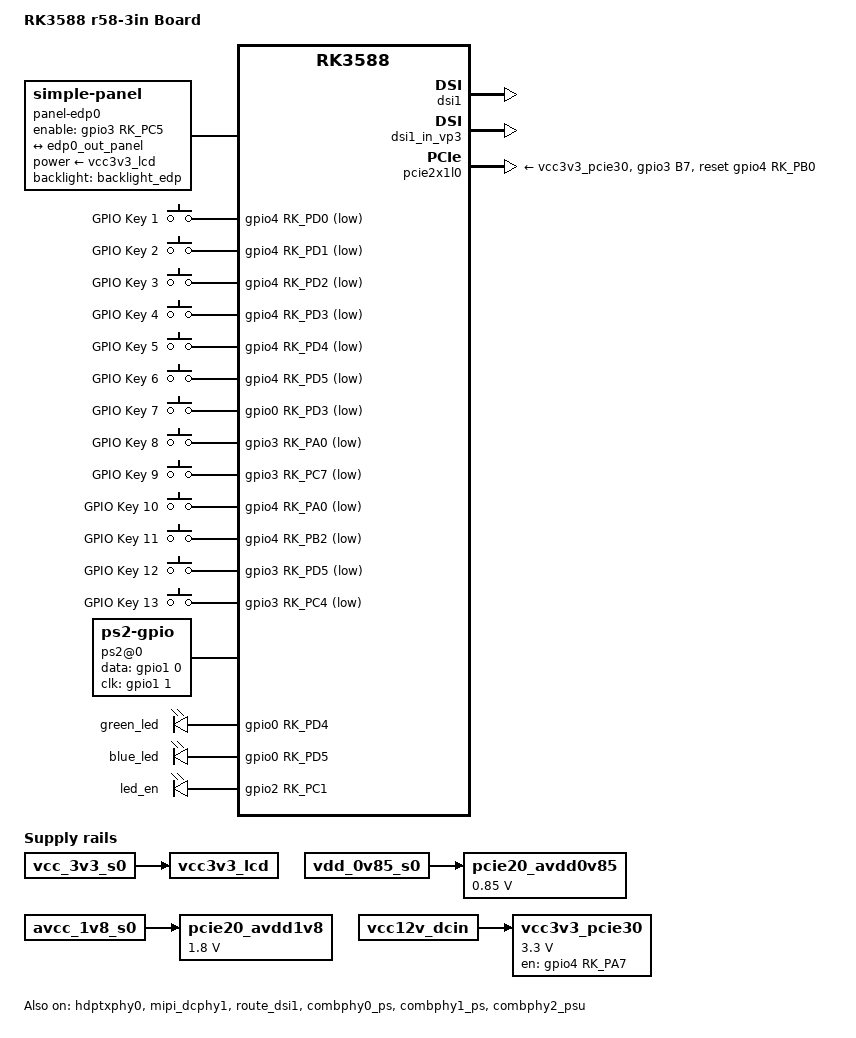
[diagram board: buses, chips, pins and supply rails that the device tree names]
// SPDX-License-Identifier: (GPL-2.0+ OR MIT)
/*
 * Copyright (c) 2021 Rockchip Electronics Co., Ltd.
 *
 */

/dts-v1/;

#include "rk3588-hugsun-r58-3in.dtsi"
#include "rk3588-linux.dtsi"

/ {
	model = "RK3588 r58-3in Board";
	compatible = "rockchip,rk3588-r58-3in-linux", "rockchip,rk3588";

	vcc3v3_lcd: vcc3v3-lcd {
		compatible = "regulator-fixed";
		regulator-name = "vcc3v3_lcd";
		vin-supply = <&vcc_3v3_s0>;
	};

	pcie20_avdd0v85: pcie30-avdd0v75 {
		compatible = "regulator-fixed";
		regulator-name = "pcie20_avdd0v85";
		regulator-boot-on;
		regulator-always-on;
		regulator-min-microvolt = <850000>;
		regulator-max-microvolt = <850000>;
		vin-supply = <&vdd_0v85_s0>;
	};

	pcie20_avdd1v8: pcie30-avdd1v8 {
		compatible = "regulator-fixed";
		regulator-name = "pcie20_avdd1v8";
		regulator-boot-on;
		regulator-always-on;
		regulator-min-microvolt = <1800000>;
		regulator-max-microvolt = <1800000>;
		vin-supply = <&avcc_1v8_s0>;
	};

      vcc3v3_pcie30: vcc3v3-pcie30 {
		compatible = "regulator-fixed";
		regulator-name = "vcc3v3_pcie30";
		regulator-min-microvolt = <3300000>;
		regulator-max-microvolt = <3300000>;
		enable-active-high;
		gpios = <&gpio4 RK_PA7 GPIO_ACTIVE_HIGH>;
		startup-delay-us = <5000>;
		vin-supply = <&vcc12v_dcin>;
        };

	panel-edp0 {
		compatible = "simple-panel";
		backlight = <&backlight_edp>;
		power-supply = <&vcc3v3_lcd>;
		enable-gpios = <&gpio3 RK_PC5 GPIO_ACTIVE_HIGH>;
		pinctrl-names = "default";
		pinctrl-0 = <&edp0_rst_gpio>;
		prepare-delay-ms = <120>;
		enable-delay-ms = <1000>;
		init-delay-ms = <50>;
		reset-delay-ms = <20>;
		unprepare-delay-ms = <120>;
		disable-delay-ms = <120>;

		panel-timing {
			clock-frequency = <594000000>;
            hactive = <3840>;
            vactive = <2160>;
            hback-porch = <296>;
            hfront-porch = <176>;
            vback-porch = <72>;
            vfront-porch = <8>;
            hsync-len = <88>;
            vsync-len = <10>;
            hsync-active = <0>;
            vsync-active = <0>;
            de-active = <0>;
            pixelclk-active = <0>;
		};

		port {
			panel_in_edp0: endpoint {
				remote-endpoint = <&edp0_out_panel>;
			};
		};
	};

	gpio_keys: gpio-keys {
		compatible = "gpio-keys";
		pinctrl-names = "default";
		pinctrl-0 = <&gpiokey>;

		gpio_key1 {
			debounce-interval = <10>;
			gpios = <&gpio4 RK_PD0 GPIO_ACTIVE_LOW>;
			label = "GPIO Key 1";
			linux,code = <BTN_Z>;
			wakeup-source;
		};
		gpio_key2 {
			debounce-interval = <10>;
			gpios = <&gpio4 RK_PD1 GPIO_ACTIVE_LOW>;
			label = "GPIO Key 2";
			linux,code = <BTN_TR>;
			wakeup-source;
		};
		gpio_key3 {
			debounce-interval = <10>;
			gpios = <&gpio4 RK_PD2 GPIO_ACTIVE_LOW>;
			label = "GPIO Key 3";
			linux,code = <BTN_TR2>;
			wakeup-source;
		};
		gpio_key4 {
			debounce-interval = <10>;
			gpios = <&gpio4 RK_PD3 GPIO_ACTIVE_LOW>;
			label = "GPIO Key 4";
			linux,code = <BTN_MODE>;
			wakeup-source;
		};
		gpio_key5 {
			debounce-interval = <10>;
			gpios = <&gpio4 RK_PD4 GPIO_ACTIVE_LOW>;
			label = "GPIO Key 5";
			linux,code = <BTN_SOUTH>;
			wakeup-source;
		};
		gpio_key6 {
			debounce-interval = <10>;
			gpios = <&gpio4 RK_PD5 GPIO_ACTIVE_LOW>;
			label = "GPIO Key 6";
			linux,code = <BTN_TL>;
			wakeup-source;
		};
		gpio_key7 {
			debounce-interval = <10>;
			gpios = <&gpio0 RK_PD3 GPIO_ACTIVE_LOW>;
			label = "GPIO Key 7";
			linux,code = <ABS_HAT0X>;
			wakeup-source;
		};
		gpio_key8 {
			debounce-interval = <10>;
			gpios = <&gpio3 RK_PA0 GPIO_ACTIVE_LOW>;
			label = "GPIO Key 8";
			linux,code = <ABS_HAT0Y>;
			wakeup-source;
		};
		gpio_key9 {
			debounce-interval = <10>;
			gpios = <&gpio3 RK_PC7 GPIO_ACTIVE_LOW>;
			label = "GPIO Key 9";
			linux,code = <ABS_HAT0Y>;
			wakeup-source;
		};
		gpio_key10 {
			debounce-interval = <10>;
			gpios = <&gpio4 RK_PA0 GPIO_ACTIVE_LOW>;
			label = "GPIO Key 10";
			linux,code = <ABS_HAT0X>;
			wakeup-source;
		};
		gpio_key11 {
			debounce-interval = <10>;
			gpios = <&gpio4 RK_PB2 GPIO_ACTIVE_LOW>;
			label = "GPIO Key 11";
			linux,code = <BTN_THUMBR>;
			wakeup-source;
		};
		gpio_key12 {
			debounce-interval = <10>;
			gpios = <&gpio3 RK_PD5 GPIO_ACTIVE_LOW>;
			label = "GPIO Key 12";
			linux,code = <BTN_THUMBL>;
			wakeup-source;
		};
		gpio_key13 {
			debounce-interval = <10>;
			gpios = <&gpio3 RK_PC4 GPIO_ACTIVE_LOW>;
			label = "GPIO Key 13";
			linux,code = <KEY_ESC>;
			wakeup-source;
		};		
	};	
	
	ps2@0 {
	        compatible = "ps2-gpio";
	        status = "okay";

	        pinctrl-names = "default";
	        pinctrl-0 = <&ps2_gpios>;

	        data-gpios = <&gpio1 0 GPIO_ACTIVE_HIGH>;
	        clk-gpios = <&gpio1 1 GPIO_ACTIVE_HIGH>;
	};	
	
};

/*  8  inches lcd  start   */
&dsi0 {
	status = "disabled";
	//rockchip,lane-rate = <1000>;
	dsi0_panel: panel@0 {
		status = "okay";
		compatible = "simple-panel-dsi";
		reg = <0>;
		backlight = <&backlight_mipi>;
		power-supply = <&vcc3v3_mipi_lcd_n>;
		reset-gpios =  <&gpio3 RK_PA3 GPIO_ACTIVE_HIGH>; 
		enable-gpios = <&gpio3 RK_PB0 GPIO_ACTIVE_HIGH>;
		reset-delay-ms = <10>;
		enable-delay-ms = <10>;
		prepare-delay-ms = <10>;
		unprepare-delay-ms = <10>;
		disable-delay-ms = <60>;
		dsi,flags = <(MIPI_DSI_MODE_VIDEO | MIPI_DSI_MODE_VIDEO_BURST |
			MIPI_DSI_MODE_LPM | MIPI_DSI_MODE_EOT_PACKET)>;
		dsi,format = <MIPI_DSI_FMT_RGB888>;
		dsi,lanes  = <4>;
		panel-init-sequence = [
			05 80 01 11
			05 28 01 29
		];

		panel-exit-sequence = [
			05 00 01 28
			05 00 01 10
		];

		display-timings {
			native-mode = <&timing0>;
			timing0: timing0 {
				clock-frequency = <160000000>;  //159391260  159747840
				hactive = <1200>;
				vactive = <1920>; 
				hback-porch = <60>;
				hfront-porch = <80>;
				hsync-len = <1>;
				vback-porch = <25>;
				vfront-porch = <35>;
				vsync-len = <1>;
				hsync-active = <1>;
				vsync-active = <1>;
				de-active = <0>;
				pixelclk-active = <0>;
				};
		};

		ports {
			#address-cells = <1>;
			#size-cells = <0>;

			port@0 {
				reg = <0>;
				panel_in_dsi0: endpoint {
					remote-endpoint = <&dsi0_out_panel>;
				};
			};
		};
	};

	ports {
		#address-cells = <1>;
		#size-cells = <0>;

		port@1 {
			reg = <1>;
			dsi0_out_panel: endpoint {
				remote-endpoint = <&panel_in_dsi0>;
			};
		};
	};

};

&mipi_dcphy0 {
	status = "disabled";
};

&dsi0_in_vp2 {
	status = "disabled";
};

&dsi0_in_vp3 {
	status = "disabled";
};

&route_dsi0 {
	status = "disabled";
	logo,uboot = "logo.bmp";
	logo,kernel = "logo_kernel.bmp";
	connect = <&vp2_out_dsi0>;
};

/*  8  inches lcd   end    */

&edp0 {
	status = "disabled";
	pinctrl-names = "default";
	pinctrl-0 = <&edp0_hpd>;
	hpd-gpios = <&gpio0 RK_PC4 GPIO_ACTIVE_HIGH>;
	//reset_edp-gpios = <&gpio3 RK_PC5 GPIO_ACTIVE_HIGH>;
	ports {
		port@1 {
			reg = <1>;

			edp0_out_panel: endpoint {
				remote-endpoint = <&panel_in_edp0>;
			};
		};
	};
};

&edp0_in_vp0 {
	status = "disabled";
};

&hdptxphy0 {
	status = "okay";
};

&hdptxphy_hdmi0 {
	status = "disabled";
};


/*
 * mipi_dcphy1 needs to be enabled
 * when dsi1 is enabled
 */
&dsi1 {
	status = "okay";
};

&dsi1_in_vp2 {
	status = "disabled";
};

&dsi1_in_vp3 {
	status = "okay";
};

&mipi_dcphy1 {
	status = "okay";
};

&route_edp0 {
	connect = <&vp0_out_edp0>;
	logo,uboot = "logo.bmp";
	logo,kernel = "logo_kernel.bmp";
	status = "disabled";
};

&route_dsi1 {
	status = "okay";
	logo,uboot = "logo.bmp";
	logo,kernel = "logo_kernel.bmp";
	connect = <&vp3_out_dsi1>;
};

&pcie2x1l0 {
	reset-gpios = <&gpio4 RK_PB0 GPIO_ACTIVE_HIGH>;
	pinctrl-names = "default";
	vpcie3v3-supply = <&vcc3v3_pcie30>;
	pinctrl-0 = <&rtl8111_isolate>;
	status = "okay";
};

&combphy0_ps {
	status = "okay";
};

&combphy1_ps {
	status = "okay";
};

&combphy2_psu {
	status = "okay";
};

&pinctrl {
	buttons {
		gpiokey: gpiokey {
			rockchip,pins = 
				<4 RK_PD0 RK_FUNC_GPIO &pcfg_pull_up>,
				<4 RK_PD1 RK_FUNC_GPIO &pcfg_pull_up>,
				<4 RK_PD2 RK_FUNC_GPIO &pcfg_pull_up>,
				<4 RK_PD3 RK_FUNC_GPIO &pcfg_pull_up>,
				<4 RK_PD4 RK_FUNC_GPIO &pcfg_pull_up>,
				<4 RK_PD5 RK_FUNC_GPIO &pcfg_pull_up>,
				<0 RK_PD3 RK_FUNC_GPIO &pcfg_pull_up>,
				<3 RK_PA0 RK_FUNC_GPIO &pcfg_pull_up>,
				<3 RK_PC7 RK_FUNC_GPIO &pcfg_pull_up>,
				<4 RK_PA0 RK_FUNC_GPIO &pcfg_pull_up>,
				<4 RK_PB2 RK_FUNC_GPIO &pcfg_pull_up>,
				<3 RK_PD5 RK_FUNC_GPIO &pcfg_pull_up>,
				<3 RK_PC4 RK_FUNC_GPIO &pcfg_pull_up>;
		};
	};

	rtl8111 {
		rtl8111_isolate: rtl8111-isolate {
			rockchip,pins = <3 RK_PB7 RK_FUNC_GPIO &pcfg_pull_up>;
		};
	};

	edp {
		edp0_hpd: edp0-hpd {
			rockchip,pins = <0 RK_PC4 0 &pcfg_pull_none>;
		};

		edp0_rst_gpio: edp0-rst-gpio {
			rockchip,pins = <3 RK_PC5 RK_FUNC_GPIO &pcfg_pull_up>;
		};

		edp1_rst_gpio: edp1-rst-gpio {
			rockchip,pins = <3 RK_PC6 RK_FUNC_GPIO &pcfg_pull_none>;
		};
	};
	
	ps2 {
		ps2_gpios: ps2-gpios {
			rockchip,pins = <1 RK_PA0 0 &pcfg_pull_none>,
					<1 RK_PA1 0 &pcfg_pull_none>;
		};
	};	

	fan_enable_gpio {
		fan_enable_gpio: fan_enable_gpio{
			rockchip,pins =
				<4 RK_PC6 RK_FUNC_GPIO &pcfg_pull_none>; 
		};
	};
};


&leds{
	green_led: green-led {
		gpios = <&gpio0 RK_PD4 GPIO_ACTIVE_HIGH>;
		default-state = "off";
	};
	blue_led: blue-led {
		gpios = <&gpio0 RK_PD5 GPIO_ACTIVE_HIGH>;
		default-state = "off";
	};
	led_en: led_en {
		gpios = <&gpio2 RK_PC1 GPIO_ACTIVE_HIGH>;
		default-state = "on";
	};
};

&fan{
	compatible = "pwm-fan";
	#cooling-cells = <2>;
	pwms = <&pwm5 0 50000 0>;
	cooling-levels = <0 50 100 150 200 255>;
	rockchip,temp-trips = <
		50000	1
		55000	2
		60000	3
		65000	4
		70000	5
	>;
	enable-gpios = <&gpio4 RK_PC6 GPIO_ACTIVE_HIGH>;
	pinctrl-names = "default";
	pinctrl-0 = <&fan_enable_gpio>;
};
